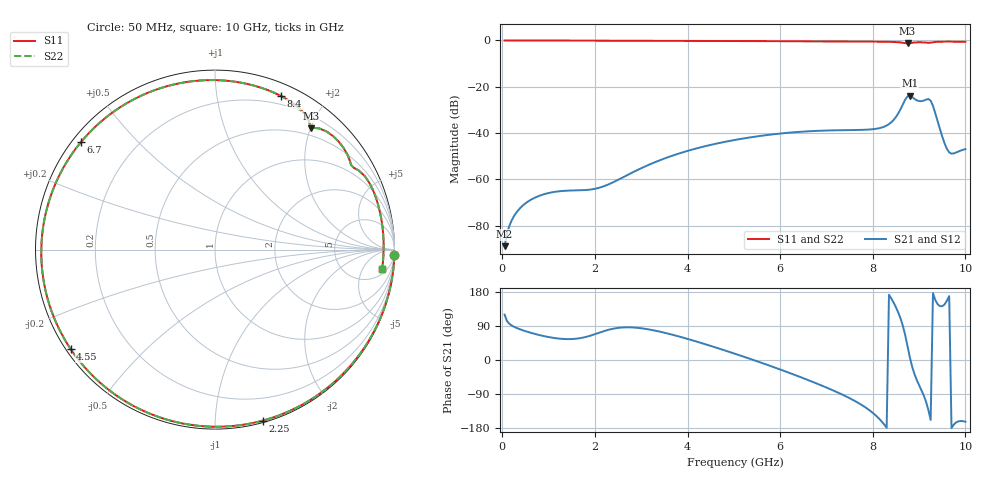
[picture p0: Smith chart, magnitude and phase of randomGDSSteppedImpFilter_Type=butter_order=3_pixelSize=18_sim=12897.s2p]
! freq	dB(S11)	phase(S11)	dB(S12)	phase(S12)
!  dB(S21)	phase(S21)	dB(S22)	phase(S22)
!S-par simulation data
#  GHz  S  DB  R 50
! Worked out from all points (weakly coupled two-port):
!   200 points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, 50 MHz to 10 GHz, reference 50 ohm
!   highest |S21| = -23.88 dB at 8.8 GHz (marker M1); lowest = -88.8 dB at 50 MHz (marker M2)
!   lowest |S11| = -1.3 dB at 8.75 GHz (marker M3), VSWR 13.45, Z = 19.1 + j100 ohm
!   |S11| at or under -10 dB: nowhere
!   |S22| runs from -1.3 to 0.0 dB; largest |S21 - S12| = 0
!   S11 on the Smith chart (normalised r, x): 50 MHz: 0, -67; 2.25 GHz: 0.01, -1.32; 4.55 GHz: 0.01, -0.31; 6.7 GHz: 0.02, +0.35; 8.4 GHz: 0.12, +1.51; 10 GHz: 7, -13
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0.05  -0.00 -1.7  -88.82 119.6  -88.82 119.6  -0.00 -1.7
0.15  -0.00 -5.1  -80.20 95.8  -80.20 95.8  -0.00 -5.1
0.35  -0.01 -11.9  -73.16 82.5  -73.16 82.5  -0.01 -11.9
0.7  -0.03 -23.8  -67.91 68.9  -67.91 68.9  -0.03 -23.8
1.15  -0.05 -38.8  -65.31 57.6  -65.31 57.6  -0.05 -38.8
1.75  -0.07 -58.4  -64.64 59.2  -64.64 59.2  -0.07 -58.4
2.25  -0.09 -74.4  -62.51 78.2  -62.51 78.2  -0.09 -74.4
3.4  -0.14 -110.2  -51.74 74.9  -51.74 74.9  -0.14 -110.2
4.55  -0.21 -145.5  -44.86 35.3  -44.86 35.3  -0.21 -145.5
5.05  -0.24 -161.3  -42.85 15.5  -42.85 15.5  -0.24 -161.3
5.9  -0.31 170.5  -40.41 -20.5  -40.41 -20.5  -0.31 170.5
6.7  -0.38 141.3  -39.12 -57.6  -39.12 -57.6  -0.38 141.3
7.6  -0.46 104.2  -38.68 -107.2  -38.68 -107.2  -0.46 104.3
8.35  -0.59 69.3  -36.11 172.2  -36.11 172.2  -0.59 69.4
8.4  -0.62 66.8  -35.33 162.3  -35.33 162.3  -0.62 66.9
8.75  -1.29 51.8  -24.14 36.9  -24.14 36.9  -1.30 51.8
8.8  -1.19 51.0  -23.88 7.4  -23.88 7.4  -1.19 51.1
9  -0.77 41.1  -26.17 -66.4  -26.17 -66.4  -0.77 41.2
9.25  -0.95 30.7  -26.00 -158.2  -26.00 -158.2  -0.94 30.7
9.55  -0.51 15.3  -44.42 146.6  -44.42 146.6  -0.51 15.3
9.65  -0.52 10.2  -48.34 168.6  -48.34 168.6  -0.52 10.2
10  -0.56 -6.7  -46.94 -162.9  -46.94 -162.9  -0.56 -6.7
